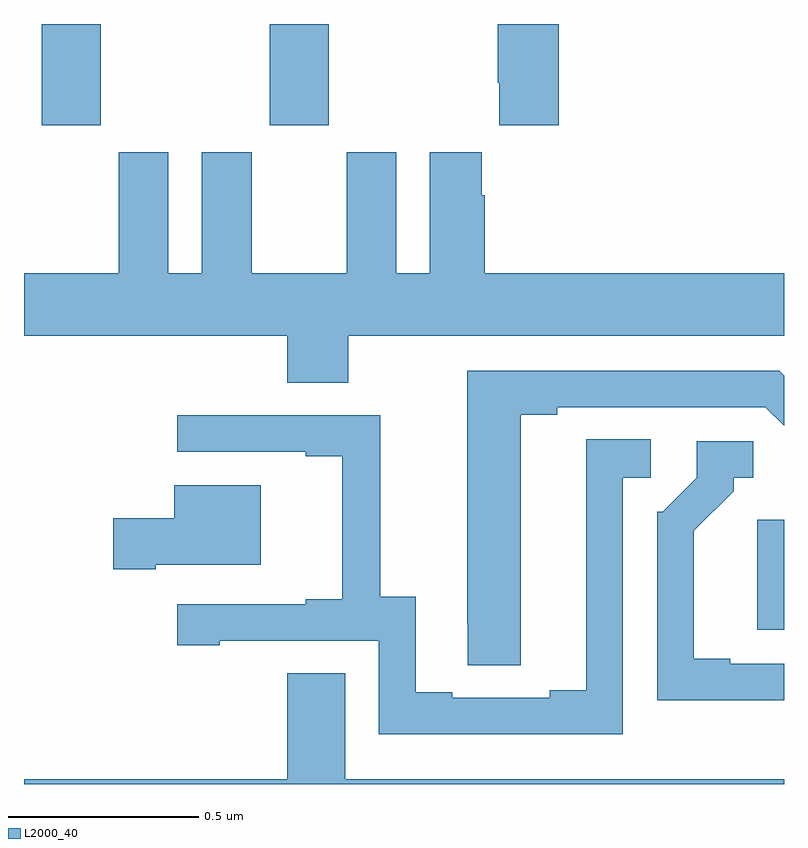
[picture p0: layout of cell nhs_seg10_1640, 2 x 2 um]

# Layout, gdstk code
import gdstk
lib = gdstk.Library(unit=1e-6, precision=1e-09)
def R(c, l, rs):  # rectangles x0, y0, x1, y1
    for r in rs: c.add(gdstk.rectangle(r[:2], r[2:], *l))
def P(c, l, *ps):  # polygons
    for p in ps: c.add(gdstk.Polygon(p, *l))
L2000_40 = (2000, 40)

nhs_seg10_1640 = lib.new_cell('nhs_seg10_1640')
R(nhs_seg10_1640, L2000_40, [(132.929,1268.906,133,1269.196), (131.047,1270.233,131.202,1270.5), (131.647,1270.233,131.802,1270.5)])
P(nhs_seg10_1640, L2000_40, [(132.407,1270.5),(132.247,1270.5),(132.247,1270.345),(132.251,1270.345),(132.251,1270.233),(132.407,1270.233)],
  [(131.853,1269.68),(133,1269.68),(133,1269.844),(132.212,1269.844),(132.212,1270.049),(132.205,1270.049),(132.205,1270.162),(132.068,1270.162),(132.068,1269.844),(131.98,1269.844),(131.98,1270.162),(131.849,1270.162),(131.849,1269.844),(131.599,1269.844),(131.599,1270.162),(131.468,1270.162),(131.468,1269.844),(131.38,1269.844),(131.38,1270.162),(131.249,1270.162),(131.249,1269.844),(131,1269.844),(131,1269.68),(131.693,1269.68),(131.693,1269.556),(131.853,1269.556)],
  [(132.307,1269.472),(132.403,1269.472),(132.403,1269.492),(132.951,1269.492),(133,1269.443),(133,1269.575),(132.987,1269.588),(132.167,1269.588),(132.167,1268.92),(132.168,1268.92),(132.168,1268.812),(132.307,1268.812)],
  [(132.576,1269.306),(132.649,1269.306),(132.649,1269.407),(132.479,1269.407),(132.479,1268.747),(132.383,1268.747),(132.383,1268.727),(132.127,1268.727),(132.127,1268.742),(132.031,1268.742),(132.031,1268.993),(131.937,1268.993),(131.937,1269.471),(131.403,1269.471),(131.403,1269.375),(131.741,1269.375),(131.741,1269.363),(131.837,1269.363),(131.837,1268.986),(131.741,1268.986),(131.741,1268.973),(131.403,1268.973),(131.403,1268.865),(131.515,1268.865),(131.515,1268.877),(131.934,1268.877),(131.934,1268.631),(132.576,1268.631)],
  [(132.929,1268.721),(133,1268.721),(133,1268.817),(132.859,1268.817),(132.859,1268.83),(132.763,1268.83),(132.763,1269.166),(132.868,1269.271),(132.868,1269.306),(132.919,1269.306),(132.919,1269.402),(132.771,1269.402),(132.771,1269.306),(132.681,1269.216),(132.666,1269.216),(132.666,1268.72),(132.929,1268.72)],
  [(131.347,1269.077),(131.623,1269.077),(131.623,1269.286),(131.396,1269.286),(131.396,1269.199),(131.235,1269.199),(131.235,1269.065),(131.347,1269.065)],
  [(133,1268.512),(131.845,1268.512),(131.845,1268.792),(131.693,1268.792),(131.693,1268.512),(131,1268.512),(131,1268.5),(133,1268.5)])

lib.write_gds('nhs_seg10_1640.gds')
